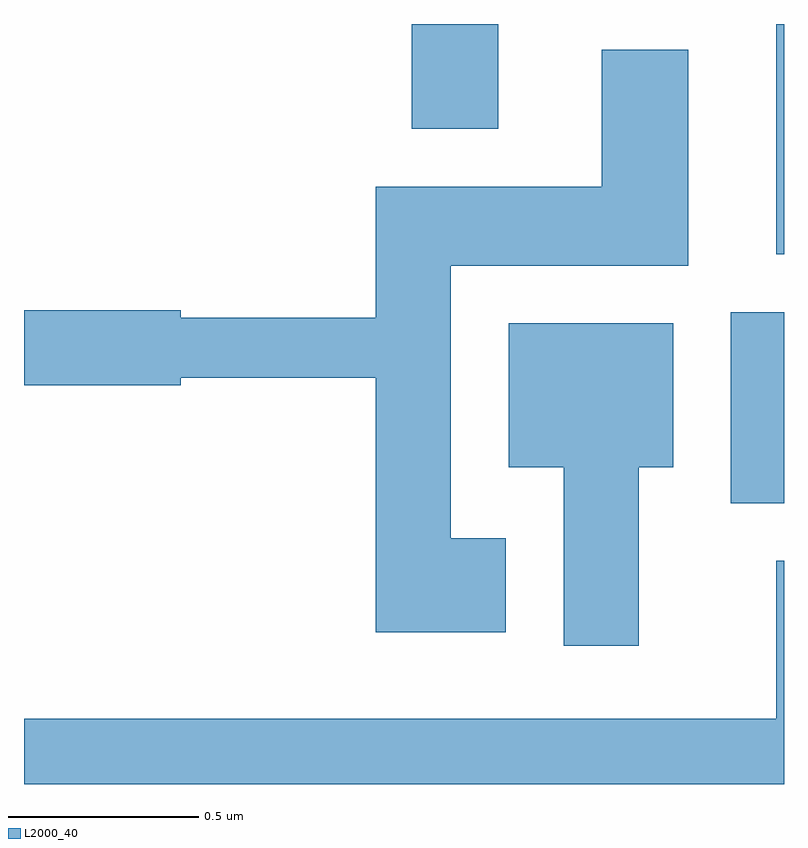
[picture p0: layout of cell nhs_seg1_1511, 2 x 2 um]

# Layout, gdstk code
import gdstk
lib = gdstk.Library(unit=1e-6, precision=1e-09)
def R(c, l, rs):  # rectangles x0, y0, x1, y1
    for r in rs: c.add(gdstk.rectangle(r[:2], r[2:], *l))
def P(c, l, *ps):  # polygons
    for p in ps: c.add(gdstk.Polygon(p, *l))
L2000_40 = (2000, 40)

nhs_seg1_1511 = lib.new_cell('nhs_seg1_1511')
R(nhs_seg1_1511, L2000_40, [(198.471,860.451,198.611,860.954), (198.591,861.106,198.611,861.712), (197.631,861.436,197.859,861.712)])
P(nhs_seg1_1511, L2000_40, [(197.879,860.359),(197.734,860.359),(197.734,861.076),(198.359,861.076),(198.359,861.644),(198.131,861.644),(198.131,861.284),(197.536,861.284),(197.536,860.939),(197.024,860.939),(197.024,860.959),(196.611,860.959),(196.611,860.761),(197.024,860.761),(197.024,860.781),(197.536,860.781),(197.536,860.111),(197.879,860.111)],
  [(198.229,860.546),(198.319,860.546),(198.319,860.924),(197.886,860.924),(197.886,860.546),(198.031,860.546),(198.031,860.076),(198.229,860.076)],
  [(198.611,860.299),(198.591,860.299),(198.591,859.884),(196.611,859.884),(196.611,859.712),(198.611,859.712)])

lib.write_gds('nhs_seg1_1511.gds')
